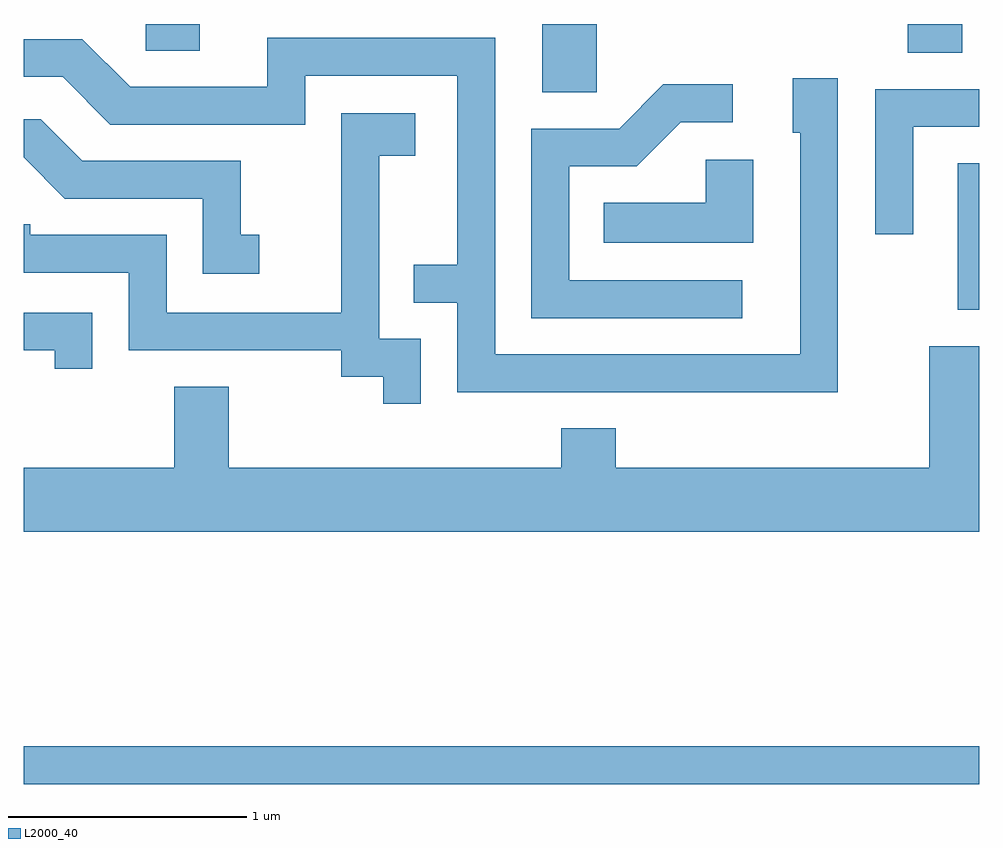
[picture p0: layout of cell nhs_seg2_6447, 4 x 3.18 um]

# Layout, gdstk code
import gdstk
lib = gdstk.Library(unit=1e-6, precision=1e-09)
def R(c, l, rs):  # rectangles x0, y0, x1, y1
    for r in rs: c.add(gdstk.rectangle(r[:2], r[2:], *l))
def P(c, l, *ps):  # polygons
    for p in ps: c.add(gdstk.Polygon(p, *l))
L2000_40 = (2000, 40)

nhs_seg2_6447 = lib.new_cell('nhs_seg2_6447')
R(nhs_seg2_6447, L2000_40, [(375.611,1020.621,379.611,1020.779), (379.521,1022.606,379.611,1023.219), (377.781,1023.516,378.009,1023.802), (379.311,1023.681,379.539,1023.802), (376.121,1023.691,376.349,1023.802)])
P(nhs_seg2_6447, L2000_40, [(379.019,1023.574),(378.831,1023.574),(378.831,1023.346),(378.861,1023.346),(378.861,1022.419),(377.584,1022.419),(377.584,1023.744),(376.631,1023.744),(376.631,1023.539),(376.057,1023.539),(375.857,1023.739),(375.611,1023.739),(375.611,1023.581),(375.774,1023.581),(375.974,1023.381),(376.789,1023.381),(376.789,1023.586),(377.426,1023.586),(377.426,1022.794),(377.243,1022.794),(377.243,1022.636),(377.426,1022.636),(377.426,1022.261),(379.019,1022.261)],
  [(378.618,1022.729),(377.894,1022.729),(377.894,1023.206),(378.177,1023.206),(378.362,1023.391),(378.578,1023.391),(378.578,1023.549),(378.289,1023.549),(378.104,1023.364),(377.736,1023.364),(377.736,1022.571),(378.618,1022.571)],
  [(379.334,1023.371),(379.611,1023.371),(379.611,1023.529),(379.176,1023.529),(379.176,1022.923),(379.334,1022.923)],
  [(377.274,1022.484),(377.099,1022.484),(377.099,1023.251),(377.249,1023.251),(377.249,1023.429),(376.941,1023.429),(376.941,1022.594),(376.209,1022.594),(376.209,1022.919),(375.639,1022.919),(375.639,1022.964),(375.611,1022.964),(375.611,1022.761),(376.051,1022.761),(376.051,1022.436),(376.941,1022.436),(376.941,1022.326),(377.116,1022.326),(377.116,1022.213),(377.274,1022.213)],
  [(376.598,1022.919),(376.519,1022.919),(376.519,1023.229),(375.857,1023.229),(375.682,1023.404),(375.611,1023.404),(375.611,1023.244),(375.784,1023.071),(376.361,1023.071),(376.361,1022.756),(376.598,1022.756)],
  [(378.664,1023.234),(378.466,1023.234),(378.466,1023.054),(378.038,1023.054),(378.038,1022.886),(378.664,1022.886)],
  [(375.899,1022.594),(375.611,1022.594),(375.611,1022.436),(375.741,1022.436),(375.741,1022.358),(375.899,1022.358)],
  [(379.611,1022.454),(379.401,1022.454),(379.401,1021.944),(378.089,1021.944),(378.089,1022.109),(377.861,1022.109),(377.861,1021.944),(376.469,1021.944),(376.469,1022.284),(376.241,1022.284),(376.241,1021.944),(375.611,1021.944),(375.611,1021.676),(379.611,1021.676)])

lib.write_gds('nhs_seg2_6447.gds')
